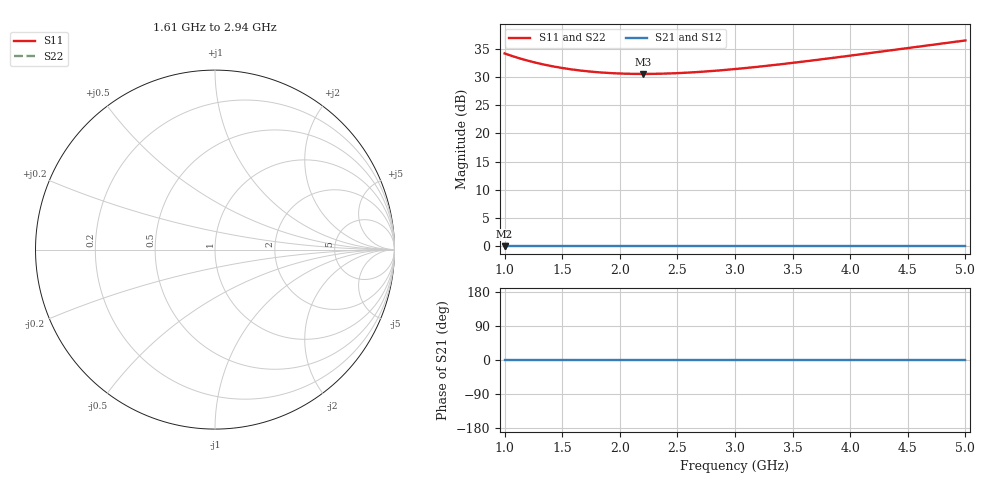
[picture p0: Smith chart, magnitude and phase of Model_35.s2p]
# GHZ S RI R 50
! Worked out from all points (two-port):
!   401 points, 1 GHz to 5 GHz, reference 50 ohm
!   highest |S21| = 0.00 dB at 1 GHz (marker M1); lowest = 0.0 dB at 1 GHz (marker M2)
!   |S21| within 3 dB of the highest: start of sweep to end of sweep
!   lowest |S11| = 30.5 dB at 2.2 GHz (marker M3)
!   |S11| at or under -10 dB: nowhere
!   |S22| runs from 30.5 to 36.5 dB; largest |S21 - S12| = 0
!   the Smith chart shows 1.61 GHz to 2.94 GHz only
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1  51.03 0  1 0  1 0  51.03 0
1.15  45.53 0  1 0  1 0  45.53 0
1.22  43.52 0  1 0  1 0  43.52 0
1.3  41.56 0  1 0  1 0  41.56 0
1.38  39.92 0  1 0  1 0  39.92 0
1.47  38.37 0  1 0  1 0  38.37 0
1.57  36.98 0  1 0  1 0  36.98 0
1.67  35.89 0  1 0  1 0  35.89 0
1.79  34.9 0  1 0  1 0  34.9 0
1.92  34.17 0  1 0  1 0  34.17 0
2.06  33.73 0  1 0  1 0  33.73 0
2.2  33.59 0  1 0  1 0  33.59 0
2.34  33.71 0  1 0  1 0  33.71 0
2.5  34.14 0  1 0  1 0  34.14 0
2.66  34.84 0  1 0  1 0  34.84 0
3  37.11 0  1 0  1 0  37.11 0
3.33  40.2 0  1 0  1 0  40.2 0
3.67  44.19 0  1 0  1 0  44.19 0
4  48.78 0  1 0  1 0  48.78 0
4.34  54.18 0  1 0  1 0  54.18 0
4.63  59.31 0  1 0  1 0  59.31 0
5  66.52 0  1 0  1 0  66.52 0
